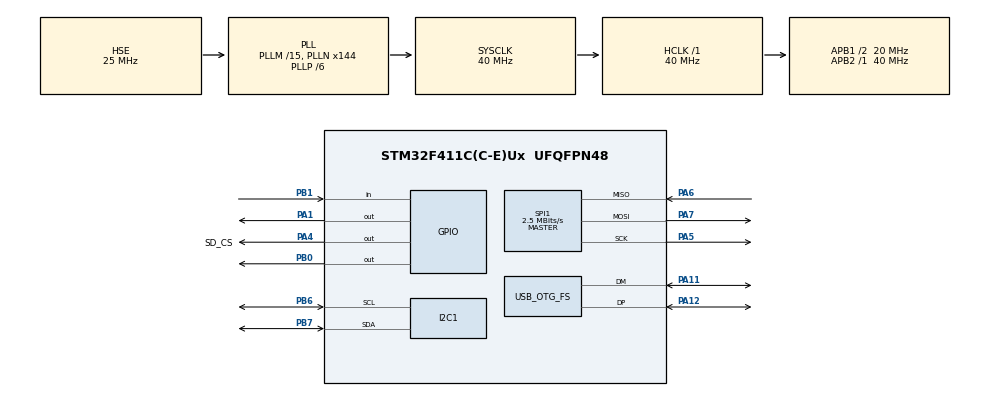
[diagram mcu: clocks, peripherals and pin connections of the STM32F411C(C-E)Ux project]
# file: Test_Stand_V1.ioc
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Mcu.Family=STM32F4
Mcu.Name=STM32F411C(C-E)Ux
Mcu.Package=UFQFPN48
NVIC.OTG_FS_IRQn=true\:0\:0\:false\:false\:true\:false\:true\:true
NVIC.PriorityGroup=NVIC_PRIORITYGROUP_4
PA1.PinState=GPIO_PIN_RESET
PA1.Signal=GPIO_Output
PA11.Mode=Device_Only
PA11.Signal=USB_OTG_FS_DM
PA12.Mode=Device_Only
PA12.Signal=USB_OTG_FS_DP
PA4.GPIO_Label=SD_CS
PA4.Signal=GPIO_Output
PA5.Mode=Full_Duplex_Master
PA5.Signal=SPI1_SCK
PA6.Mode=Full_Duplex_Master
PA6.Signal=SPI1_MISO
PA7.Mode=Full_Duplex_Master
PA7.Signal=SPI1_MOSI
PB0.Signal=GPIO_Output
PB1.Signal=GPIO_Input
PB6.Mode=I2C
PB6.Signal=I2C1_SCL
PB7.Mode=I2C
PB7.Signal=I2C1_SDA
PC14-OSC32_IN.Mode=LSE-External-Oscillator
PC14-OSC32_IN.Signal=RCC_OSC32_IN
PC15-OSC32_OUT.Mode=LSE-External-Oscillator
PC15-OSC32_OUT.Signal=RCC_OSC32_OUT
PH0\ -\ OSC_IN.Mode=HSE-External-Oscillator
PH0\ -\ OSC_IN.Signal=RCC_OSC_IN
PH1\ -\ OSC_OUT.Mode=HSE-External-Oscillator
PH1\ -\ OSC_OUT.Signal=RCC_OSC_OUT
ProjectManager.HeapSize=0x200
ProjectManager.StackSize=0x400
ProjectManager.TargetToolchain=STM32CubeIDE
RCC.48MHZClocksFreq_Value=48000000
RCC.AHBFreq_Value=40000000
RCC.APB1CLKDivider=RCC_HCLK_DIV2
RCC.APB1Freq_Value=20000000
RCC.APB1TimFreq_Value=40000000
RCC.APB2Freq_Value=40000000
RCC.APB2TimFreq_Value=40000000
RCC.CortexFreq_Value=40000000
RCC.HCLKFreq_Value=40000000
RCC.HSE_VALUE=25000000
RCC.HSI_VALUE=16000000
RCC.PLLM=15
RCC.PLLN=144
RCC.PLLP=RCC_PLLP_DIV6
RCC.PLLQ=5
RCC.SYSCLKFreq_VALUE=40000000
RCC.SYSCLKSource=RCC_SYSCLKSOURCE_PLLCLK
RCC.VCOOutputFreq_Value=240000000
SPI1.BaudRatePrescaler=SPI_BAUDRATEPRESCALER_16
SPI1.CalculateBaudRate=2.5 MBits/s
SPI1.DataSize=SPI_DATASIZE_8BIT
SPI1.Direction=SPI_DIRECTION_2LINES
SPI1.Mode=SPI_MODE_MASTER
SPI1.VirtualType=VM_MASTER
USB_DEVICE.CLASS_NAME_FS=CDC
USB_DEVICE.VirtualMode=Cdc
USB_DEVICE.VirtualModeFS=Cdc_FS
USB_OTG_FS.VirtualMode=Device_Only
VP_FATFS_VS_Generic.Mode=User_defined
VP_USB_DEVICE_VS_USB_DEVICE_CDC_FS.Mode=CDC_FS
board=custom

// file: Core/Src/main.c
/* USER CODE BEGIN Header */
/**
  ******************************************************************************
  * @file           : main.c
  * @brief          : Main program body
  ******************************************************************************
  * @attention
  *
  * Copyright (c) 2022 STMicroelectronics.
  * All rights reserved.
  *
  * This software is licensed under terms that can be found in the LICENSE file
  * in the root directory of this software component.
  * If no LICENSE file comes with this software, it is provided AS-IS.
  *
  ******************************************************************************
  */
/* USER CODE END Header */
#include "main.h"
#include "fatfs.h"
#include "usb_device.h"

/* USER CODE BEGIN Includes */
#include "fatfs_sd.h"
#include "string.h"
#include "stdio.h"
#include "hx711.h"
/* USER CODE END Includes */

 I2C_HandleTypeDef hi2c1;

SPI_HandleTypeDef hspi1;

/* USER CODE BEGIN PV */

//  uint8_t buffer[100] = "Hello World";
 uint8_t size = 0;

/* USER CODE END PV */

void SystemClock_Config(void);
static void MX_GPIO_Init(void);
static void MX_I2C1_Init(void);
static void MX_SPI1_Init(void);
/* USER CODE BEGIN PFP */

extern uint8_t CDC_Transmit_FS(uint8_t* Buf, uint16_t Len);

/* USER CODE END PFP */

/* USER CODE BEGIN 0 */
hx711_t loadcell;
float weight[300];
int32_t value1 = 0,value2 = 0;
uint32_t tickstart=0, tickend=0, tickend2 = 0;
uint8_t stop = 0;
float bias = 131.0;
FATFS fs;  // file system
FIL fil; // File
FILINFO fno;
FRESULT fresult;  // result
UINT br, bw;  // File read/write count

/**** capacity related *****/
FATFS *pfs;
DWORD fre_clust;
uint32_t total, free_space;

#define BUFFER_SIZE 128
char buffer[BUFFER_SIZE];  // to store strings..

int i=0;

int bufsize (char *buf)
{
	int i=0;
	while (*buf++ != '\0') i++;
	return i;
}

void clear_buffer (void)
{
	for (int i=0; i<BUFFER_SIZE; i++) buffer[i] = '\0';
}

/* USER CODE END 0 */

int main(void)
{
  /* USER CODE BEGIN 1 */
	FIL file;
	FRESULT res;
  /* USER CODE END 1 */

  /* MCU Configuration--------------------------------------------------------*/

  /* Reset of all peripherals, Initializes the Flash interface and the Systick. */
  HAL_Init();

  /* Configure the system clock */
  SystemClock_Config();

  /* Initialize all configured peripherals */
  MX_GPIO_Init();
  MX_USB_DEVICE_Init();
  MX_I2C1_Init();
  MX_SPI1_Init();
  MX_FATFS_Init();
  /* USER CODE BEGIN 2 */

  HAL_Delay (500);

  // Initialize the SD card
  if (disk_initialize(0) != RES_OK) {
	  while(1);
  }

  fresult = f_mount(&fs, "/", 1);
  if (fresult != FR_OK) {
	  while(1);
	}
  else{
    /*All ok*/
	}

  /*************** Card capacity details ********************/

  	/* Check free space */
//  	f_getfree("", &fre_clust, &pfs);
//
//  	total = (uint32_t)((pfs->n_fatent - 2) * pfs->csize * 0.5);
//  	// sprintf (buffer, "SD CARD Total Size: \t%lu\n",total);
//  	// send_uart(buffer);
//  	clear_buffer();
//  	free_space = (uint32_t)(fre_clust * pfs->csize * 0.5);
//  	// sprintf (buffer, "SD CARD Free Space: \t%lu\n\n",free_space);
//  	// send_uart(buffer);
//  	clear_buffer();

  	/************* The following operation is using PUTS and GETS *********************/

  // Open a file for writing
  if (f_open(&file, "test.txt", FA_CREATE_ALWAYS | FA_WRITE) != FR_OK) {
      while(1);
  }

// Write data to the file
  char data[] = "Hello, world!";
  UINT bytes_written;
  if (f_write(&file, data, sizeof(data), &bytes_written) != FR_OK) {
	  while(1);
  }

  // Close the file
  f_close(&file);

  // Open the file for reading
  if (f_open(&file, "test.txt", FA_READ) != FR_OK) {
	  // handle error
  }

  // Read data from the file
  char buffer[32];
  UINT bytes_read;
  if (f_read(&file, buffer, sizeof(buffer), &bytes_read) != FR_OK) {
          while(1);
	  }

  // Close the file
  f_close(&file);

  // Unmount the SD card
  f_mount(NULL, "", 0);

  /* Sets pins for the Load Cell */
  hx711_init(&loadcell, GPIOB, GPIO_PIN_0, GPIOB, GPIO_PIN_1);

/* Load cell without load resulted to 8326279 for calibration */
 value1 = hx711_value_ave(&loadcell, 10);

 /* Load cell with 10kg resulted to 8291415 for calibration */
 value2 = hx711_value_ave(&loadcell, 10);

 /* Calibration with 10kg on the load cell */
 hx711_calibration(&loadcell, value1, value2, 10.0);

  hx711_tare(&loadcell, 10);
 hx711_coef_set(&loadcell, -63.5724983);	//This is for the perejil Test Stand 400kg

  /* USER CODE END 2 */

  /* Infinite loop */
  while (1)
  {

    /* USER CODE BEGIN 3 */
    		  tickstart = HAL_GetTick();    //Not used

      /*Read weight from sensor*/
		  weight[0] = hx711_weight(&loadcell, 1);
		  //Fix data for the 800kg test stand
      /* TODO:  See why we get NEGATIVE VALUES! */
		  if (weight[0]<-10000.0){
			  weight[0] = weight[0] + 13140.0;	//This is for the perejil Test Stand 800kg
		  }

      /* Get the actual time */
		  tickend = HAL_GetTick();

      /* Print the actual weight along the time */
		  size = sprintf((char *)buffer,"/*%0.2f,%0.4f*/ \n\r", (float)tickend/1000.0,  weight[0]/100.0); //This is for the perejil test stand 400kg

		  CDC_Transmit_FS(buffer,size);

  }
  /* USER CODE END 3 */
}

void SystemClock_Config(void)
{
  RCC_OscInitTypeDef RCC_OscInitStruct = {0};
  RCC_ClkInitTypeDef RCC_ClkInitStruct = {0};

  /** Configure the main internal regulator output voltage
  */
  __HAL_RCC_PWR_CLK_ENABLE();
  __HAL_PWR_VOLTAGESCALING_CONFIG(PWR_REGULATOR_VOLTAGE_SCALE1);

  /** Initializes the RCC Oscillators according to the specified parameters
  * in the RCC_OscInitTypeDef structure.
  */
  RCC_OscInitStruct.OscillatorType = RCC_OSCILLATORTYPE_HSE;
  RCC_OscInitStruct.HSEState = RCC_HSE_ON;
  RCC_OscInitStruct.PLL.PLLState = RCC_PLL_ON;
  RCC_OscInitStruct.PLL.PLLSource = RCC_PLLSOURCE_HSE;
  RCC_OscInitStruct.PLL.PLLM = 15;
  RCC_OscInitStruct.PLL.PLLN = 144;
  RCC_OscInitStruct.PLL.PLLP = RCC_PLLP_DIV6;
  RCC_OscInitStruct.PLL.PLLQ = 5;
  if (HAL_RCC_OscConfig(&RCC_OscInitStruct) != HAL_OK)
  {
    Error_Handler();
  }

  /** Initializes the CPU, AHB and APB buses clocks
  */
  RCC_ClkInitStruct.ClockType = RCC_CLOCKTYPE_HCLK|RCC_CLOCKTYPE_SYSCLK
                              |RCC_CLOCKTYPE_PCLK1|RCC_CLOCKTYPE_PCLK2;
  RCC_ClkInitStruct.SYSCLKSource = RCC_SYSCLKSOURCE_PLLCLK;
  RCC_ClkInitStruct.AHBCLKDivider = RCC_SYSCLK_DIV1;
  RCC_ClkInitStruct.APB1CLKDivider = RCC_HCLK_DIV2;
  RCC_ClkInitStruct.APB2CLKDivider = RCC_HCLK_DIV1;

  if (HAL_RCC_ClockConfig(&RCC_ClkInitStruct, FLASH_LATENCY_1) != HAL_OK)
  {
    Error_Handler();
  }
}

static void MX_I2C1_Init(void)
{

  hi2c1.Instance = I2C1;
  hi2c1.Init.ClockSpeed = 100000;
  hi2c1.Init.DutyCycle = I2C_DUTYCYCLE_2;
  hi2c1.Init.OwnAddress1 = 0;
  hi2c1.Init.AddressingMode = I2C_ADDRESSINGMODE_7BIT;
  hi2c1.Init.DualAddressMode = I2C_DUALADDRESS_DISABLE;
  hi2c1.Init.OwnAddress2 = 0;
  hi2c1.Init.GeneralCallMode = I2C_GENERALCALL_DISABLE;
  hi2c1.Init.NoStretchMode = I2C_NOSTRETCH_DISABLE;
  if (HAL_I2C_Init(&hi2c1) != HAL_OK)
  {
    Error_Handler();
  }

}

static void MX_SPI1_Init(void)
{

  /* SPI1 parameter configuration*/
  hspi1.Instance = SPI1;
  hspi1.Init.Mode = SPI_MODE_MASTER;
  hspi1.Init.Direction = SPI_DIRECTION_2LINES;
  hspi1.Init.DataSize = SPI_DATASIZE_8BIT;
  hspi1.Init.CLKPolarity = SPI_POLARITY_LOW;
  hspi1.Init.CLKPhase = SPI_PHASE_1EDGE;
  hspi1.Init.NSS = SPI_NSS_SOFT;
  hspi1.Init.BaudRatePrescaler = SPI_BAUDRATEPRESCALER_16;
  hspi1.Init.FirstBit = SPI_FIRSTBIT_MSB;
  hspi1.Init.TIMode = SPI_TIMODE_DISABLE;
  hspi1.Init.CRCCalculation = SPI_CRCCALCULATION_DISABLE;
  hspi1.Init.CRCPolynomial = 10;
  if (HAL_SPI_Init(&hspi1) != HAL_OK)
  {
    Error_Handler();
  }

}

static void MX_GPIO_Init(void)
{
  GPIO_InitTypeDef GPIO_InitStruct = {0};

  /* GPIO Ports Clock Enable */
  __HAL_RCC_GPIOC_CLK_ENABLE();
  __HAL_RCC_GPIOH_CLK_ENABLE();
  __HAL_RCC_GPIOA_CLK_ENABLE();
  __HAL_RCC_GPIOB_CLK_ENABLE();

  /*Configure GPIO pin Output Level */
  HAL_GPIO_WritePin(GPIOA, GPIO_PIN_1|SD_CS_Pin, GPIO_PIN_RESET);

  /*Configure GPIO pin Output Level */
  HAL_GPIO_WritePin(GPIOB, GPIO_PIN_0, GPIO_PIN_RESET);

  /*Configure GPIO pins : PA1 SD_CS_Pin */
  GPIO_InitStruct.Pin = GPIO_PIN_1|SD_CS_Pin;
  GPIO_InitStruct.Mode = GPIO_MODE_OUTPUT_PP;
  GPIO_InitStruct.Pull = GPIO_NOPULL;
  GPIO_InitStruct.Speed = GPIO_SPEED_FREQ_LOW;
  HAL_GPIO_Init(GPIOA, &GPIO_InitStruct);

  /*Configure GPIO pin : PB0 */
  GPIO_InitStruct.Pin = GPIO_PIN_0;
  GPIO_InitStruct.Mode = GPIO_MODE_OUTPUT_PP;
  GPIO_InitStruct.Pull = GPIO_NOPULL;
  GPIO_InitStruct.Speed = GPIO_SPEED_FREQ_LOW;
  HAL_GPIO_Init(GPIOB, &GPIO_InitStruct);

  /*Configure GPIO pin : PB1 */
  GPIO_InitStruct.Pin = GPIO_PIN_1;
  GPIO_InitStruct.Mode = GPIO_MODE_INPUT;
  GPIO_InitStruct.Pull = GPIO_NOPULL;
  HAL_GPIO_Init(GPIOB, &GPIO_InitStruct);

}

void Error_Handler(void)
{
  __disable_irq();
  while (1)
  {
  }
}
